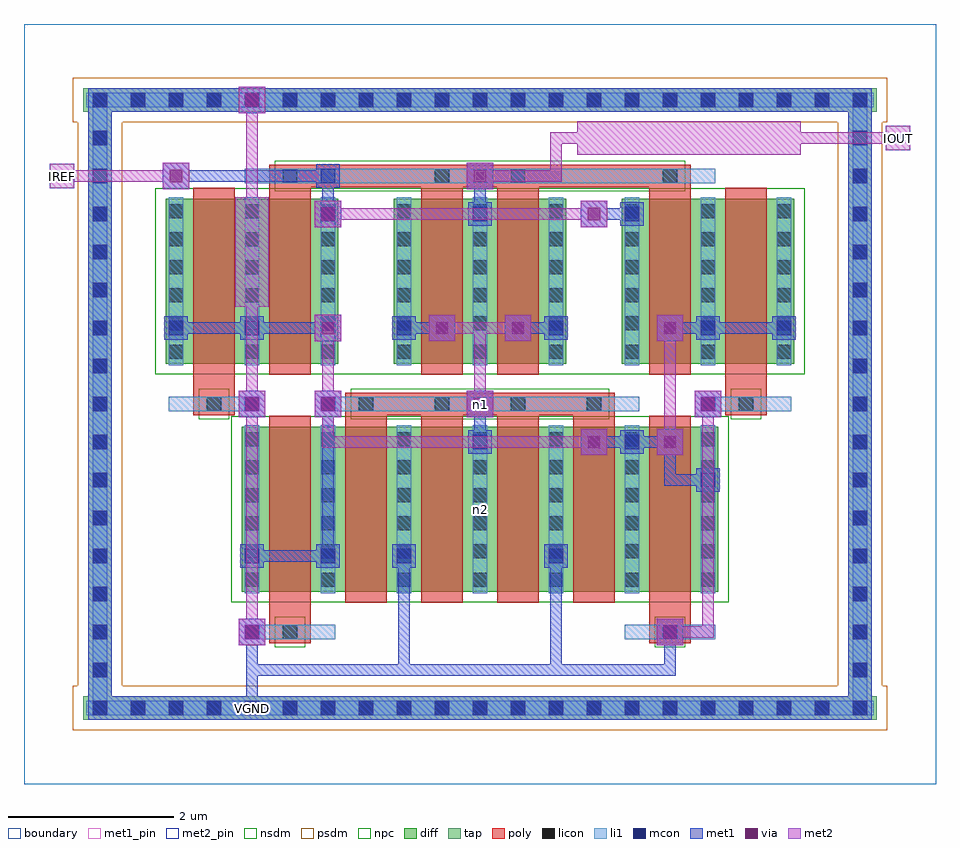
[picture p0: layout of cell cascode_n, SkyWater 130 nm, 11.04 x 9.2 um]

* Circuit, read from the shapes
.subckt cascode_n IOUT IREF VGND n1 n2
XM1 n1 VGND n1 VGND sky130_fd_pr__nfet_01v8 w=2 l=0.5 m=4
XM2 IREF IREF n1 VGND sky130_fd_pr__nfet_01v8 w=2 l=0.5 m=2
XM3 VGND n1 n1 VGND sky130_fd_pr__nfet_01v8 w=2 l=0.5 m=2
XM4 n2 n1 VGND VGND sky130_fd_pr__nfet_01v8 w=2 l=0.5 m=2
XM5 IOUT IREF n2 VGND sky130_fd_pr__nfet_01v8 w=2 l=0.5 m=2
.ends

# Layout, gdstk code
import gdstk
lib = gdstk.Library(unit=1e-6, precision=1e-09)
def R(c, l, rs):  # rectangles x0, y0, x1, y1
    for r in rs: c.add(gdstk.rectangle(r[:2], r[2:], *l))
def A(c, l, x, y, w, h, nx, ny, dx, dy):  # array of equal rectangles
    R(c, l, [(x+i*dx, y+j*dy, x+i*dx+w, y+j*dy+h) for i in range(nx) for j in range(ny)])
diff = (65, 20)
tap = (65, 44)
poly = (66, 20)
licon = (66, 44)
li1 = (67, 20)
mcon = (67, 44)
met1_pin = (68, 16)
met1 = (68, 20)
via = (68, 44)
met2_pin = (69, 16)
met2 = (69, 20)
nsdm = (93, 44)
psdm = (94, 20)
npc = (95, 20)
boundary = (235, 4)

cascode_n = lib.new_cell('cascode_n')
A(cascode_n, diff, 1.715, 5.085, 2.09, 2, 3, 1, 2.76, 0)
R(cascode_n, diff, [(2.635,2.325,8.405,4.325)])
R(cascode_n, tap, [(0.715,0.775,10.325,1.065), (0.775,0.775,1.065,8.425), (9.975,0.775,10.265,8.425), (0.715,8.135,10.325,8.425)])
A(cascode_n, poly, 3.89, 2.195, 0.5, 2.405, 4, 1, 0.92, 0)
R(cascode_n, poly, [(2.97,1.705,3.47,1.975), (7.57,1.705,8.07,1.975), (2.97,1.84,3.47,4.455), (7.57,1.84,8.07,4.455), (2.05,4.465,2.55,4.735), (3.89,4.465,7.15,4.735), (8.49,4.465,8.99,4.735), (2.05,4.6,2.55,7.215), (8.49,4.6,8.99,7.215), (2.97,4.955,3.47,7.36), (4.81,4.955,5.31,7.36), (5.73,4.955,6.23,7.36), (7.57,4.955,8.07,7.36), (2.97,7.225,8.07,7.495)])
A(cascode_n, licon, 0.835, 0.835, 0.17, 0.17, 21, 2, 0.46, 7.36)
A(cascode_n, licon, 0.835, 1.295, 0.17, 0.17, 1, 15, 0, 0.46)
A(cascode_n, licon, 10.035, 1.295, 0.17, 0.17, 1, 15, 0, 0.46)
A(cascode_n, licon, 2.675, 2.39, 0.17, 0.17, 7, 6, 0.92, 0.34)
A(cascode_n, licon, 4.055, 4.515, 0.17, 0.17, 4, 1, 0.92, 0)
A(cascode_n, licon, 1.755, 5.15, 0.17, 0.17, 9, 6, 0.92, 0.34)
R(cascode_n, licon, [(3.135,1.755,3.305,1.925), (7.735,1.755,7.905,1.925), (2.215,4.515,2.385,4.685), (8.655,4.515,8.825,4.685), (3.135,7.275,3.305,7.445), (4.975,7.275,5.145,7.445), (5.895,7.275,6.065,7.445), (7.735,7.275,7.905,7.445)])
A(cascode_n, li1, 2.675, 2.31, 0.17, 2.03, 7, 1, 0.92, 0)
A(cascode_n, li1, 1.755, 5.07, 0.17, 2.03, 9, 1, 0.92, 0)
R(cascode_n, li1, [(0.755,0.835,10.285,1.005), (0.835,0.835,1.005,8.365), (10.035,0.835,10.205,8.365), (2.675,1.755,3.765,1.925), (7.275,1.755,8.365,1.925), (1.755,4.515,2.845,4.685), (3.595,4.515,7.445,4.685), (8.195,4.515,9.285,4.685), (2.675,7.275,8.365,7.445), (0.755,8.195,10.285,8.365)])
A(cascode_n, mcon, 0.835, 0.835, 0.17, 0.17, 21, 2, 0.46, 7.36)
A(cascode_n, mcon, 0.835, 1.295, 0.17, 0.17, 1, 9, 0, 0.46)
A(cascode_n, mcon, 10.035, 1.295, 0.17, 0.17, 1, 15, 0, 0.46)
A(cascode_n, mcon, 2.675, 2.675, 0.17, 0.17, 3, 1, 0.92, 0)
A(cascode_n, mcon, 0.835, 5.435, 0.17, 0.17, 3, 1, 0.92, 0)
A(cascode_n, mcon, 4.515, 5.435, 0.17, 0.17, 3, 1, 1.84, 0)
A(cascode_n, mcon, 0.835, 5.895, 0.17, 0.17, 1, 5, 0, 0.46)
A(cascode_n, mcon, 3.595, 6.815, 0.17, 0.17, 3, 1, 1.84, 0)
R(cascode_n, mcon, [(2.675,1.755,2.845,1.925), (7.735,1.755,7.905,1.925), (6.355,2.675,6.525,2.845), (8.195,3.595,8.365,3.765), (5.435,4.055,5.605,4.225), (7.275,4.055,7.445,4.225), (2.675,4.515,2.845,4.685), (3.595,4.515,3.765,4.685), (8.195,4.515,8.365,4.685), (9.115,5.435,9.285,5.605), (3.595,7.275,3.765,7.445)])
R(cascode_n, met1_pin, [(2.69,0.85,2.83,0.99)])
A(cascode_n, met1, 2.615, 2.615, 0.29, 0.29, 3, 1, 0.92, 0)
A(cascode_n, met1, 2.615, 5.375, 0.29, 0.29, 4, 1, 1.84, 0)
A(cascode_n, met1, 3.535, 6.755, 0.29, 0.29, 3, 1, 1.84, 0)
R(cascode_n, met1, [(0.775,0.775,10.265,1.065), (0.775,0.775,1.065,8.425), (9.975,0.775,10.265,8.425), (2.69,0.85,2.83,0.99), (2.69,0.85,2.83,1.91), (2.69,1.31,4.67,1.45), (4.53,1.31,6.51,1.45), (4.53,1.31,4.67,2.83), (6.37,1.31,6.51,2.83), (6.37,1.31,7.89,1.45), (7.75,1.31,7.89,1.91), (2.6,1.68,2.92,2), (7.66,1.68,7.98,2), (2.615,1.695,2.905,1.985), (7.675,1.695,7.965,1.985), (6.295,2.615,6.585,2.905), (2.69,2.69,3.75,2.83), (3.61,2.69,3.75,4.67), (8.135,3.535,8.425,3.825), (7.75,3.61,7.89,4.21), (7.75,3.61,8.35,3.75), (6.74,3.98,7.06,4.3), (7.66,3.98,7.98,4.3), (5.375,3.995,5.665,4.285), (7.215,3.995,7.505,4.285), (5.45,4.07,5.59,4.67), (6.83,4.07,7.43,4.21), (7.29,4.07,7.89,4.21), (2.6,4.44,2.92,4.76), (3.52,4.44,3.84,4.76), (5.36,4.44,5.68,4.76), (8.12,4.44,8.44,4.76), (2.615,4.455,2.905,4.745), (3.535,4.455,3.825,4.745), (8.135,4.455,8.425,4.745), (3.52,5.36,3.84,5.68), (4.9,5.36,5.22,5.68), (5.82,5.36,6.14,5.68), (7.66,5.36,7.98,5.68), (1.695,5.375,1.985,5.665), (9.055,5.375,9.345,5.665), (1.77,5.45,2.83,5.59), (2.69,5.45,3.75,5.59), (4.53,5.45,5.13,5.59), (5.91,5.45,6.51,5.59), (7.75,5.45,8.35,5.59), (8.21,5.45,9.27,5.59), (3.52,6.74,3.84,7.06), (6.74,6.74,7.06,7.06), (3.61,6.83,3.75,7.43), (5.45,6.83,5.59,7.43), (6.83,6.83,7.43,6.97), (1.68,7.2,2,7.52), (5.36,7.2,5.68,7.52), (3.535,7.215,3.825,7.505), (1.77,7.29,3.75,7.43), (2.6,8.12,2.92,8.44), (0.775,8.135,10.265,8.425), (2.69,8.21,2.83,8.35)])
R(cascode_n, via, [(2.685,1.765,2.835,1.915), (7.745,1.765,7.895,1.915), (6.825,4.065,6.975,4.215), (7.745,4.065,7.895,4.215), (2.685,4.525,2.835,4.675), (3.605,4.525,3.755,4.675), (5.445,4.525,5.595,4.675), (8.205,4.525,8.355,4.675), (3.605,5.445,3.755,5.595), (4.985,5.445,5.135,5.595), (5.905,5.445,6.055,5.595), (7.745,5.445,7.895,5.595), (3.605,6.825,3.755,6.975), (6.825,6.825,6.975,6.975), (1.765,7.285,1.915,7.435), (5.445,7.285,5.595,7.435), (2.685,8.205,2.835,8.355)])
R(cascode_n, met2_pin, [(0.31,7.21,0.61,7.51), (10.43,7.67,10.73,7.97)])
R(cascode_n, met2, [(2.6,1.68,2.92,2), (7.66,1.68,7.98,2), (2.69,1.77,2.83,4.67), (7.75,1.77,8.35,1.91), (8.21,1.77,8.35,4.67), (6.74,3.98,7.06,4.3), (7.66,3.98,7.98,4.3), (3.61,4.07,3.75,4.67), (3.61,4.07,6.97,4.21), (7.75,4.07,7.89,5.59), (2.6,4.44,2.92,4.76), (3.52,4.44,3.84,4.76), (5.36,4.44,5.68,4.76), (8.12,4.44,8.44,4.76), (2.69,4.53,2.83,6.05), (3.61,4.53,3.75,5.59), (5.45,4.53,5.59,5.59), (3.52,5.36,3.84,5.68), (4.9,5.36,5.22,5.68), (5.82,5.36,6.14,5.68), (7.66,5.36,7.98,5.68), (4.99,5.45,5.59,5.59), (5.45,5.45,6.05,5.59), (2.56,5.78,2.96,7.1), (3.52,6.74,3.84,7.06), (6.74,6.74,7.06,7.06), (2.69,6.83,2.83,8.35), (3.61,6.83,6.97,6.97), (1.68,7.2,2,7.52), (5.36,7.2,5.68,7.52), (0.31,7.21,0.61,7.51), (0.39,7.29,0.53,7.43), (0.39,7.29,1.91,7.43), (5.45,7.29,6.51,7.43), (6.37,7.29,6.51,7.89), (6.7,7.62,9.4,8.02), (10.43,7.67,10.73,7.97), (6.37,7.75,6.97,7.89), (9.13,7.75,10.65,7.89), (10.51,7.75,10.65,7.89), (2.6,8.12,2.92,8.44)])
R(cascode_n, nsdm, [(2.51,2.2,8.53,4.45), (1.59,4.96,9.45,7.21)])
R(cascode_n, psdm, [(0.59,0.65,10.45,1.19), (0.65,1.19,1.19,8.01), (9.85,1.19,10.39,8.01), (0.59,8.01,10.45,8.55)])
R(cascode_n, npc, [(3.035,1.655,3.405,2.025), (7.635,1.655,8.005,2.025), (2.115,4.415,2.485,4.785), (3.955,4.415,7.085,4.785), (8.555,4.415,8.925,4.785), (3.035,7.175,8.005,7.545)])
R(cascode_n, boundary, [(0,0,11.04,9.2)])
cascode_n.add(gdstk.Label('n1', (5.52,4.6), layer=67, texttype=5))
cascode_n.add(gdstk.Label('n2', (5.52,3.325), layer=67, texttype=5))
cascode_n.add(gdstk.Label('VGND', (2.76,0.92), layer=68, texttype=5))
cascode_n.add(gdstk.Label('IREF', (0.46,7.36), layer=69, texttype=5))
cascode_n.add(gdstk.Label('IOUT', (10.58,7.82), layer=69, texttype=5))
cascode_n.add(gdstk.Label('VGND', (2.76,0.92), layer=68, texttype=16))
cascode_n.add(gdstk.Label('IREF', (0.46,7.36), layer=69, texttype=16))
cascode_n.add(gdstk.Label('IOUT', (10.58,7.82), layer=69, texttype=16))

lib.write_gds('cascode_n.gds')
